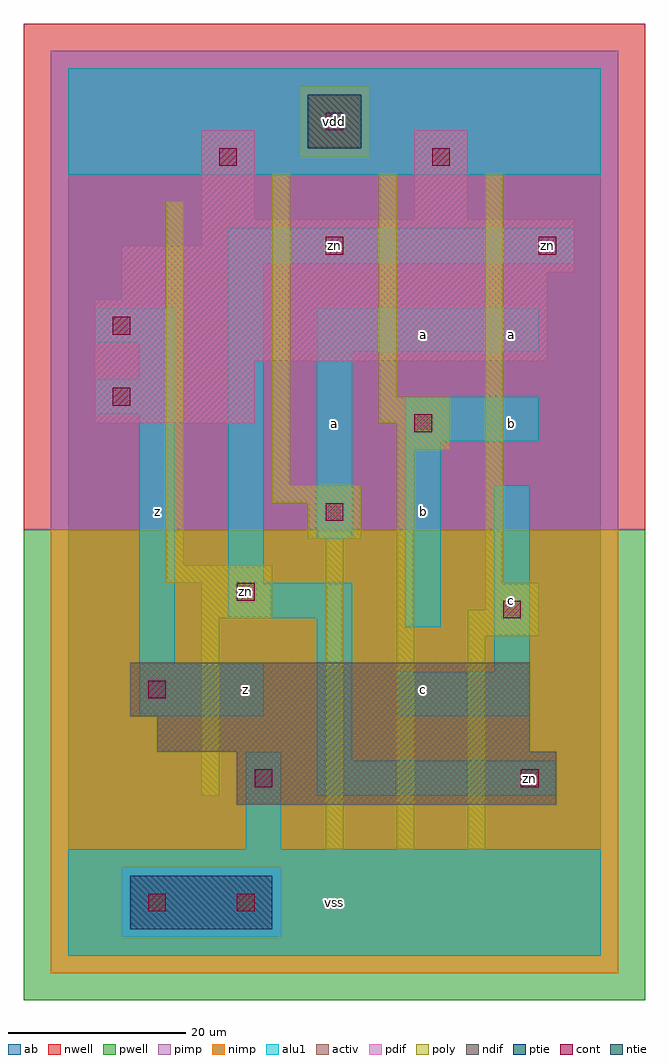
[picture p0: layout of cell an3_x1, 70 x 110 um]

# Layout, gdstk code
import gdstk
lib = gdstk.Library(unit=1e-6, precision=1e-09)
def R(c, l, rs):  # rectangles x0, y0, x1, y1
    for r in rs: c.add(gdstk.rectangle(r[:2], r[2:], *l))
ndif = (3, 0)
pdif = (4, 0)
ntie = (5, 0)
ptie = (6, 0)
cont = (25, 0)
pwell = (41, 0)
nwell = (42, 0)
activ = (43, 0)
pimp = (44, 0)
nimp = (45, 0)
poly = (46, 0)
alu1 = (49, 0)
ab = (63, 0)

an3_x1 = lib.new_cell('an3_x1')
R(an3_x1, ndif, [(19,17,55,23), (10,23,52,27), (7,27,52,33)])
R(an3_x1, pdif, [(3,60,21,67), (3,67,54,74), (6,74,54,77), (6,77,57,80), (15,80,57,83), (15,83,21,93), (39,83,45,93)])
R(an3_x1, ntie, [(27,91,33,97)])
R(an3_x1, ptie, [(7,3,23,9)])
R(an3_x1, cont, [(9,5,11,7), (19,5,21,7), (21,19,23,21), (51,19,53,21), (9,29,11,31), (49,38,51,40), (19,40,21,42), (29,49,31,51), (39,59,41,61), (5,62,7,64), (5,70,7,72), (29,79,31,81), (53,79,55,81), (17,89,19,91), (41,89,43,91), (29,93,31,95)])
R(an3_x1, pwell, [(-5,-5,65,48)])
R(an3_x1, nwell, [(-5,48,65,105)])
R(an3_x1, activ, [(7,3,23,9), (19,17,55,23), (10,23,52,27), (7,27,52,33), (3,60,21,67), (3,67,54,74), (6,74,54,77), (6,77,57,80), (15,80,57,83), (15,83,21,93), (39,83,45,93), (27,91,33,97)])
R(an3_x1, pimp, [(6,2,24,10), (-2,48,62,90), (-2,90,26,98), (34,90,62,98), (-2,98,62,102)])
R(an3_x1, nimp, [(-2,-2,62,2), (-2,2,6,10), (24,2,62,10), (-2,10,62,48), (26,90,34,98)])
R(an3_x1, poly, [(29,12,31,47), (37,12,39,57), (45,12,47,36), (15,18,17,38), (45,36,53,39), (15,38,23,42), (47,39,53,42), (11,42,23,44), (47,42,49,88), (11,44,13,85), (27,47,33,51), (23,51,33,53), (23,53,25,88), (37,57,43,60), (35,60,43,63), (35,63,37,88)])
R(an3_x1, alu1, [(0,0,60,12), (20,12,24,23), (28,18,55,22), (28,22,32,38), (8,27,22,33), (37,27,52,32), (48,32,52,53), (8,33,12,61), (38,37,42,58), (18,38,32,42), (18,42,22,78), (28,47,32,68), (38,58,53,63), (3,61,12,65), (8,65,12,69), (28,68,53,73), (3,69,12,73), (18,78,57,82), (0,88,60,100)])
R(an3_x1, ab, [(0,0,60,100)])
an3_x1.add(gdstk.Label('zn', (20,41), layer=49, texttype=0))
an3_x1.add(gdstk.Label('zn', (30,80), layer=49, texttype=0))
an3_x1.add(gdstk.Label('zn', (52,20), layer=49, texttype=0))
an3_x1.add(gdstk.Label('zn', (54,80), layer=49, texttype=0))
an3_x1.add(gdstk.Label('z', (10,50), layer=49, texttype=0))
an3_x1.add(gdstk.Label('z', (20,30), layer=49, texttype=0))
an3_x1.add(gdstk.Label('vss', (30,6), layer=49, texttype=0))
an3_x1.add(gdstk.Label('c', (40,30), layer=49, texttype=0))
an3_x1.add(gdstk.Label('b', (40,50), layer=49, texttype=0))
an3_x1.add(gdstk.Label('a', (30,60), layer=49, texttype=0))
an3_x1.add(gdstk.Label('a', (40,70), layer=49, texttype=0))
an3_x1.add(gdstk.Label('vdd', (30,94), layer=49, texttype=0))
an3_x1.add(gdstk.Label('c', (50,40), layer=49, texttype=0))
an3_x1.add(gdstk.Label('a', (50,70), layer=49, texttype=0))
an3_x1.add(gdstk.Label('b', (50,60), layer=49, texttype=0))

lib.write_gds('an3_x1.gds')
